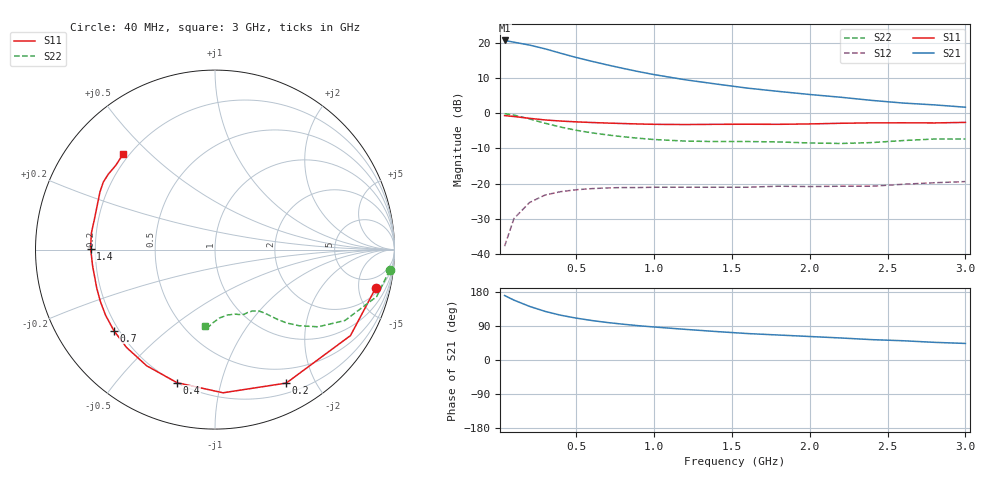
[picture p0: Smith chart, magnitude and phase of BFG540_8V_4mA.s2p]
! Filename:  BFG540G.S2P  Version:  3.0
! Philips part #: BFG540  Date: Feb 1992
! Bias condition: Vce=8V, Ic=4mA
! IN LINE PINNING: same data as with cross emitter pinning.
#  MHz  S  MA  R  50
! Freq  S11  S21  S12  S22  !GUM [dB]
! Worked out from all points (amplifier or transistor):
!   21 points, 40 MHz to 3 GHz, reference 50 ohm
!   highest |S21| = 20.6 dB at 40 MHz (marker M1)
!   |S21| within 3 dB of that: start of sweep to 350.3 MHz
!   unconditionally stable (mu >= 1): 1.791 GHz to end of sweep
!   at 300 MHz: K = 0.17, MSG = 20.7 dB, |S12| = -23.2 dB
!   at 1 GHz: K = 0.59, MSG = 16.0 dB, |S12| = -21.0 dB
!   at 3 GHz: K = 1.33, MAG = 7.1 dB, |S12| = -19.4 dB
!   S11 on the Smith chart (normalised r, x): 40 MHz: 2.73, -7.62; 200 MHz: 0.32, -1.62; 400 MHz: 0.20, -0.74; 700 MHz: 0.18, -0.34; 1.4 GHz: 0.18, +0.00; 3 GHz: 0.18, +0.41
40  0.921 -13.3  10.7 170.2  0.013 81.1  0.98 -6.7
100  0.894 -32.4  10.11 158.0  0.032 70.9  0.938 -16.2
200  0.843 -61.9  9.196 141.5  0.054 56.4  0.825 -28.6
300  0.799 -86.8  8.142 128.3  0.069 46.1  0.718 -36.8
400  0.771 -105.9  7.047 118.2  0.077 39.3  0.633 -42.1
500  0.751 -120.5  6.137 110.5  0.082 34.5  0.571 -45.7
600  0.735 -132.1  5.419 104.2  0.085 31.7  0.525 -48.0
700  0.722 -141.3  4.813 98.9  0.087 29.5  0.49 -49.7
800  0.711 -149.0  4.306 94.5  0.088 27.8  0.462 -51.2
900  0.701 -155.7  3.871 90.5  0.088 27.3  0.44 -52.7
1000  0.693 -161.9  3.511 87.1  0.089 26.9  0.422 -54.3
1200  0.688 -172.3  2.966 80.9  0.089 27.0  0.401 -58.4
1400  0.693 179.5  2.58 75.1  0.089 27.4  0.395 -62.6
1600  0.695 172.5  2.258 69.8  0.089 30.5  0.395 -65.8
1800  0.693 165.7  2.028 65.9  0.092 32.4  0.39 -68.4
2000  0.702 158.9  1.834 62.0  0.091 35.5  0.377 -72.6
2200  0.717 153.3  1.676 58.1  0.092 38.5  0.371 -79.1
2400  0.727 148.9  1.512 53.7  0.092 42.3  0.382 -86.3
2600  0.728 144.8  1.387 50.8  0.098 45.5  0.408 -91.6
2800  0.725 139.7  1.307 46.6  0.103 47.4  0.429 -94.4
3000  0.738 134.1  1.211 43.7  0.107 51.7  0.429 -97.1
